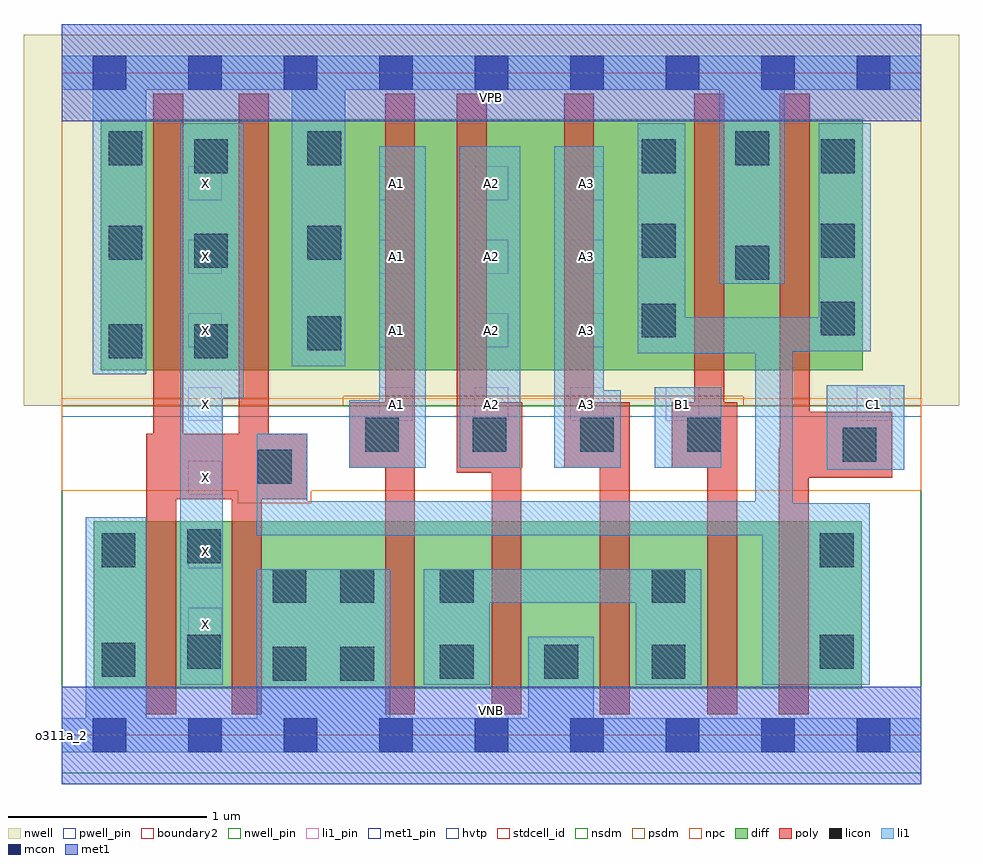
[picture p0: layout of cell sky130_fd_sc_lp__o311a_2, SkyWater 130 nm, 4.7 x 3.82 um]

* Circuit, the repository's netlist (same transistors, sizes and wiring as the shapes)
* Copyright 2020 The SkyWater PDK Authors
*
* Licensed under the Apache License, Version 2.0 (the "License");
* you may not use this file except in compliance with the License.
* You may obtain a copy of the License at
*
*     https://www.apache.org/licenses/LICENSE-2.0
*
* Unless required by applicable law or agreed to in writing, software
* distributed under the License is distributed on an "AS IS" BASIS,
* WITHOUT WARRANTIES OR CONDITIONS OF ANY KIND, either express or implied.
* See the License for the specific language governing permissions and
* limitations under the License.
*
* SPDX-License-Identifier: Apache-2.0

.SUBCKT sky130_fd_sc_lp__o311a_2 A1 A2 A3 B1 C1 VGND VNB VPB VPWR X
*.PININFO A1:I A2:I A3:I B1:I C1:I VGND:I VNB:I VPB:I VPWR:I X:O
MMPA0 VPWR A1 sndA1 VPB sky130_fd_pr__pfet_01v8_hvt m=1 w=1.26U l=0.15U mult=1
+ sa=0.265 sb=0.265 sd=0.28 area=0.063 perim=1.14
MMPA1 sndA1 A2 sndA2 VPB sky130_fd_pr__pfet_01v8_hvt m=1 w=1.26U l=0.15U mult=1
+ sa=0.265 sb=0.265 sd=0.28 area=0.063 perim=1.14
MMPA2 sndA2 A3 y VPB sky130_fd_pr__pfet_01v8_hvt m=1 w=1.26U l=0.15U mult=1 sa=0.265
+ sb=0.265 sd=0.28 area=0.063 perim=1.14
MMPB0 VPWR B1 y VPB sky130_fd_pr__pfet_01v8_hvt m=1 w=1.26U l=0.15U mult=1 sa=0.265
+ sb=0.265 sd=0.28 area=0.063 perim=1.14
MMPC0 VPWR C1 y VPB sky130_fd_pr__pfet_01v8_hvt m=1 w=1.26U l=0.15U mult=1 sa=0.265
+ sb=0.265 sd=0.28 area=0.063 perim=1.14
MMIPX X y VPWR VPB sky130_fd_pr__pfet_01v8_hvt m=2 w=1.26U l=0.15U mult=1 sa=0.265
+ sb=0.265 sd=0.28 area=0.063 perim=1.14
MMNA0 pndA A1 VGND VNB sky130_fd_pr__nfet_01v8 m=1 w=0.84U l=0.15U mult=1 sa=0.265
+ sb=0.265 sd=0.28 area=0.063 perim=1.14
MMNA1 pndA A2 VGND VNB sky130_fd_pr__nfet_01v8 m=1 w=0.84U l=0.15U mult=1 sa=0.265
+ sb=0.265 sd=0.28 area=0.063 perim=1.14
MMNA2 pndA A3 VGND VNB sky130_fd_pr__nfet_01v8 m=1 w=0.84U l=0.15U mult=1 sa=0.265
+ sb=0.265 sd=0.28 area=0.063 perim=1.14
MMNB0 pndB B1 pndA VNB sky130_fd_pr__nfet_01v8 m=1 w=0.84U l=0.15U mult=1 sa=0.265
+ sb=0.265 sd=0.28 area=0.063 perim=1.14
MMNC0 y C1 pndB VNB sky130_fd_pr__nfet_01v8 m=1 w=0.84U l=0.15U mult=1 sa=0.265
+ sb=0.265 sd=0.28 area=0.063 perim=1.14
MMINX X y VGND VNB sky130_fd_pr__nfet_01v8 m=2 w=0.84U l=0.15U mult=1 sa=0.265
+ sb=0.265 sd=0.28 area=0.063 perim=1.14
.ENDS sky130_fd_sc_lp__o311a_2

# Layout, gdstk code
import gdstk
lib = gdstk.Library(unit=1e-6, precision=1e-09)
def R(c, l, rs):  # rectangles x0, y0, x1, y1
    for r in rs: c.add(gdstk.rectangle(r[:2], r[2:], *l))
def A(c, l, x, y, w, h, nx, ny, dx, dy):  # array of equal rectangles
    R(c, l, [(x+i*dx, y+j*dy, x+i*dx+w, y+j*dy+h) for i in range(nx) for j in range(ny)])
def P(c, l, *ps):  # polygons
    for p in ps: c.add(gdstk.Polygon(p, *l))
nwell_pin = (64, 16)
nwell = (64, 20)
diff = (65, 20)
poly = (66, 20)
licon = (66, 44)
li1_pin = (67, 16)
li1 = (67, 20)
mcon = (67, 44)
met1_pin = (68, 16)
met1 = (68, 20)
hvtp = (78, 44)
stdcell_id = (81, 4)
nsdm = (93, 44)
psdm = (94, 20)
npc = (95, 20)
pwell_pin = (122, 16)
boundary2 = (236, 0)

sky130_fd_sc_lp__o311a_2 = lib.new_cell('sky130_fd_sc_lp__o311a_2')
R(sky130_fd_sc_lp__o311a_2, nwell_pin, [(0,3.085,4.32,3.33)])
R(sky130_fd_sc_lp__o311a_2, nwell, [(-0.19,1.655,4.51,3.52)])
R(sky130_fd_sc_lp__o311a_2, diff, [(0.16,0.235,4.02,1.075), (0.195,1.835,4.025,3.095)])
P(sky130_fd_sc_lp__o311a_2, poly, [(1.235,1.515),(1.04,1.515),(1.04,3.225),(0.89,3.225),(0.89,1.515),(0.61,1.515),(0.61,3.225),(0.46,3.225),(0.46,1.515),(0.425,1.515),(0.425,0.105),(0.575,0.105),(0.575,1.185),(0.855,1.185),(0.855,0.105),(1.005,0.105),(1.005,1.185),(1.235,1.185)],
  [(1.775,3.225),(1.625,3.225),(1.625,1.675),(1.445,1.675),(1.445,1.345),(1.625,1.345),(1.625,0.105),(1.775,0.105)],
  [(2.315,1.675),(2.135,1.675),(2.135,3.225),(1.985,3.225),(1.985,1.32),(2.16,1.32),(2.16,0.105),(2.31,0.105),(2.31,1.345),(2.315,1.345)],
  [(2.855,1.675),(2.675,1.675),(2.675,3.225),(2.525,3.225),(2.525,1.345),(2.705,1.345),(2.705,0.105),(2.855,0.105)],
  [(3.395,1.675),(3.33,1.675),(3.33,3.225),(3.18,3.225),(3.18,1.675),(3.065,1.675),(3.065,1.345),(3.245,1.345),(3.245,0.105),(3.395,0.105)],
  [(4.175,1.625),(3.76,1.625),(3.76,3.225),(3.61,3.225),(3.61,1.445),(3.605,1.445),(3.605,0.105),(3.755,0.105),(3.755,1.295),(4.175,1.295)])
A(sky130_fd_sc_lp__o311a_2, licon, 1.525, 1.425, 0.17, 0.17, 4, 1, 0.54, 0)
R(sky130_fd_sc_lp__o311a_2, licon, [(1.06,0.275,1.23,0.445), (1.4,0.275,1.57,0.445), (1.9,0.285,2.07,0.455), (2.425,0.285,2.595,0.455), (2.965,0.285,3.135,0.455), (0.2,0.295,0.37,0.465), (0.63,0.335,0.8,0.505), (3.81,0.335,3.98,0.505), (1.06,0.665,1.23,0.835), (1.4,0.665,1.57,0.835), (1.9,0.665,2.07,0.835), (2.965,0.665,3.135,0.835), (0.2,0.845,0.37,1.015), (3.81,0.845,3.98,1.015), (0.63,0.865,0.8,1.035), (0.985,1.265,1.155,1.435), (3.925,1.375,4.095,1.545), (0.235,1.895,0.405,2.065), (0.665,1.895,0.835,2.065), (1.235,1.935,1.405,2.105), (2.915,2,3.085,2.17), (3.815,2.01,3.985,2.18), (3.385,2.29,3.555,2.46), (0.665,2.35,0.835,2.52), (0.235,2.39,0.405,2.56), (1.235,2.39,1.405,2.56), (2.915,2.4,3.085,2.57), (3.815,2.4,3.985,2.57), (0.665,2.825,0.835,2.995), (2.915,2.825,3.085,2.995), (3.815,2.825,3.985,2.995), (0.235,2.865,0.405,3.035), (1.235,2.865,1.405,3.035), (3.385,2.865,3.555,3.035)])
A(sky130_fd_sc_lp__o311a_2, li1_pin, 0.635, 0.47, 0.17, 0.17, 1, 7, 0, 0.37)
A(sky130_fd_sc_lp__o311a_2, li1_pin, 1.595, 1.58, 0.17, 0.17, 4, 1, 0.48, 0)
A(sky130_fd_sc_lp__o311a_2, li1_pin, 1.595, 1.95, 0.17, 0.17, 3, 3, 0.48, 0.37)
R(sky130_fd_sc_lp__o311a_2, li1_pin, [(3.995,1.58,4.165,1.75)])
R(sky130_fd_sc_lp__o311a_2, li1, [(3.845,1.335,4.235,1.76), (2,1.345,2.305,2.96), (2.98,1.345,3.315,1.75)])
P(sky130_fd_sc_lp__o311a_2, li1, [(0.155,1.815),(0.155,3.245),(0,3.245),(0,3.415),(4.32,3.415),(4.32,3.245),(3.635,3.245),(3.635,2.27),(3.305,2.27),(3.305,3.245),(1.425,3.245),(1.425,1.855),(1.155,1.855),(1.155,3.245),(0.425,3.245),(0.425,1.815)],
  [(2.345,0.085),(2.345,0.495),(2.675,0.495),(2.675,0.085),(4.32,0.085),(4.32,-0.085),(0,-0.085),(0,0.085),(0.12,0.085),(0.12,1.095),(0.425,1.095),(0.425,0.085),(0.98,0.085),(0.98,0.835),(1.65,0.835),(1.65,0.085)],
  [(3.135,2.1),(3.805,2.1),(3.805,3.075),(4.065,3.075),(4.065,1.93),(3.675,1.93),(3.675,1.165),(4.06,1.165),(4.06,0.255),(3.52,0.255),(3.52,1.005),(0.98,1.005),(0.98,1.515),(1.235,1.515),(1.235,1.175),(3.485,1.175),(3.485,1.92),(2.895,1.92),(2.895,3.075),(3.135,3.075)],
  [(0.595,3.075),(0.915,3.075),(0.915,1.695),(0.81,1.695),(0.81,0.255),(0.595,0.255)],
  [(1.83,2.96),(1.595,2.96),(1.595,1.685),(1.445,1.685),(1.445,1.345),(1.83,1.345)],
  [(2.81,1.735),(2.725,1.735),(2.725,2.96),(2.475,2.96),(2.475,1.345),(2.81,1.345)],
  [(2.885,0.665),(2.15,0.665),(2.15,0.255),(1.82,0.255),(1.82,0.835),(3.215,0.835),(3.215,0.255),(2.885,0.255)])
A(sky130_fd_sc_lp__o311a_2, mcon, 0.155, -0.085, 0.17, 0.17, 9, 2, 0.48, 3.33)
R(sky130_fd_sc_lp__o311a_2, met1_pin, [(0,0,4.32,0.245), (0,3.085,4.32,3.33)])
R(sky130_fd_sc_lp__o311a_2, met1, [(0,-0.245,4.32,0.245), (0,3.085,4.32,3.575)])
R(sky130_fd_sc_lp__o311a_2, hvtp, [(0,1.6,4.32,3.33)])
R(sky130_fd_sc_lp__o311a_2, stdcell_id, [(0,0,4.32,3.33)])
R(sky130_fd_sc_lp__o311a_2, nsdm, [(0,-0.19,4.32,1.655)])
P(sky130_fd_sc_lp__o311a_2, psdm, [(4.32,3.52),(0,3.52),(0,1.655),(1.415,1.655),(1.415,1.705),(3.425,1.705),(3.425,1.655),(4.32,1.655)])
P(sky130_fd_sc_lp__o311a_2, npc, [(4.32,1.695),(0,1.695),(0,1.23),(0.885,1.23),(0.885,1.165),(1.255,1.165),(1.255,1.23),(4.32,1.23)])
R(sky130_fd_sc_lp__o311a_2, pwell_pin, [(0,0,4.32,0.245)])
R(sky130_fd_sc_lp__o311a_2, boundary2, [(0,0,4.32,3.33)])
sky130_fd_sc_lp__o311a_2.add(gdstk.Label('VNB', (2.16,0.123), layer=64, texttype=59))
sky130_fd_sc_lp__o311a_2.add(gdstk.Label('VPB', (2.16,3.208), layer=64, texttype=5))
sky130_fd_sc_lp__o311a_2.add(gdstk.Label('o311a_2', (0,0), layer=83, texttype=44))
sky130_fd_sc_lp__o311a_2.add(gdstk.Label('VPWR', (2.16,3.208), layer=68, texttype=5))
sky130_fd_sc_lp__o311a_2.add(gdstk.Label('VGND', (2.16,0.123), layer=68, texttype=5))
sky130_fd_sc_lp__o311a_2.add(gdstk.Label('X', (0.72,0.555), layer=67, texttype=5))
sky130_fd_sc_lp__o311a_2.add(gdstk.Label('X', (0.72,0.925), layer=67, texttype=5))
sky130_fd_sc_lp__o311a_2.add(gdstk.Label('X', (0.72,1.295), layer=67, texttype=5))
sky130_fd_sc_lp__o311a_2.add(gdstk.Label('X', (0.72,1.665), layer=67, texttype=5))
sky130_fd_sc_lp__o311a_2.add(gdstk.Label('X', (0.72,2.035), layer=67, texttype=5))
sky130_fd_sc_lp__o311a_2.add(gdstk.Label('X', (0.72,2.405), layer=67, texttype=5))
sky130_fd_sc_lp__o311a_2.add(gdstk.Label('X', (0.72,2.775), layer=67, texttype=5))
sky130_fd_sc_lp__o311a_2.add(gdstk.Label('A1', (1.68,1.665), layer=67, texttype=5))
sky130_fd_sc_lp__o311a_2.add(gdstk.Label('A1', (1.68,2.035), layer=67, texttype=5))
sky130_fd_sc_lp__o311a_2.add(gdstk.Label('A1', (1.68,2.405), layer=67, texttype=5))
sky130_fd_sc_lp__o311a_2.add(gdstk.Label('A1', (1.68,2.775), layer=67, texttype=5))
sky130_fd_sc_lp__o311a_2.add(gdstk.Label('A2', (2.16,1.665), layer=67, texttype=5))
sky130_fd_sc_lp__o311a_2.add(gdstk.Label('A2', (2.16,2.035), layer=67, texttype=5))
sky130_fd_sc_lp__o311a_2.add(gdstk.Label('A2', (2.16,2.405), layer=67, texttype=5))
sky130_fd_sc_lp__o311a_2.add(gdstk.Label('A2', (2.16,2.775), layer=67, texttype=5))
sky130_fd_sc_lp__o311a_2.add(gdstk.Label('A3', (2.64,1.665), layer=67, texttype=5))
sky130_fd_sc_lp__o311a_2.add(gdstk.Label('A3', (2.64,2.035), layer=67, texttype=5))
sky130_fd_sc_lp__o311a_2.add(gdstk.Label('A3', (2.64,2.405), layer=67, texttype=5))
sky130_fd_sc_lp__o311a_2.add(gdstk.Label('A3', (2.64,2.775), layer=67, texttype=5))
sky130_fd_sc_lp__o311a_2.add(gdstk.Label('B1', (3.12,1.665), layer=67, texttype=5))
sky130_fd_sc_lp__o311a_2.add(gdstk.Label('C1', (4.08,1.665), layer=67, texttype=5))

lib.write_gds('sky130_fd_sc_lp__o311a_2.gds')
